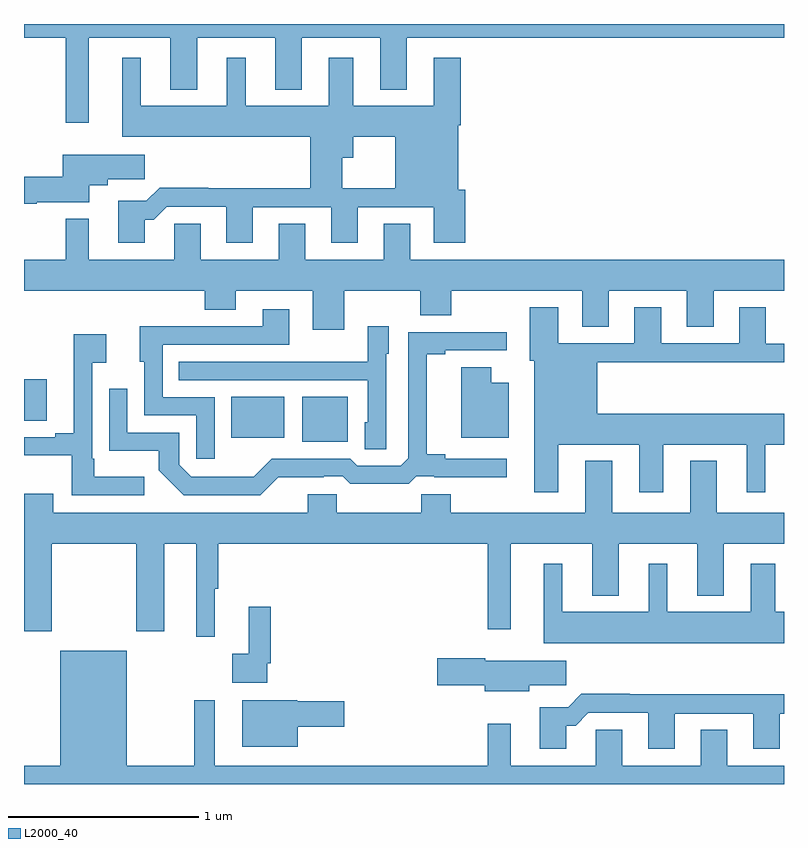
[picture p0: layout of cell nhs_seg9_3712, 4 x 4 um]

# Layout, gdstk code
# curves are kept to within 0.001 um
import gdstk
lib = gdstk.Library(unit=1e-6, precision=1e-09)
def R(c, l, rs):  # rectangles x0, y0, x1, y1
    for r in rs: c.add(gdstk.rectangle(r[:2], r[2:], *l))
def P(c, l, *ps):  # polygons
    for p in ps: c.add(gdstk.Polygon(p, *l))
L2000_40 = (2000, 40)

nhs_seg9_3712 = lib.new_cell('nhs_seg9_3712')
R(nhs_seg9_3712, L2000_40, [(324.464,1186.301,324.703,1186.537), (324.092,1186.322,324.37,1186.537), (323,1186.411,323.119,1186.63)])
P(nhs_seg9_3712, L2000_40, [(327,1188.5),(323,1188.5),(323,1188.428),(323.22,1188.428),(323.22,1187.979),(323.341,1187.979),(323.341,1188.428),(323.771,1188.428),(323.771,1188.155),(323.911,1188.155),(323.911,1188.428),(324.323,1188.428),(324.323,1188.155),(324.463,1188.155),(324.463,1188.428),(324.875,1188.428),(324.875,1188.155),(325.015,1188.155),(325.015,1188.428),(327,1188.428)],
  [(323.969,1187.639),(323.714,1187.639),(323.644,1187.569),(323.495,1187.569),(323.495,1187.349),(323.635,1187.349),(323.635,1187.471),(323.684,1187.471),(323.751,1187.538),(324.065,1187.538),(324.065,1187.349),(324.205,1187.349),(324.205,1187.535),(324.617,1187.535),(324.617,1187.349),(324.757,1187.349),(324.757,1187.535),(325.157,1187.535),(325.157,1187.349),(325.322,1187.349),(325.322,1187.628),(325.285,1187.628),(325.285,1187.966),(325.298,1187.966),(325.298,1188.322),(325.157,1188.322),(325.157,1188.07),(324.733,1188.07),(324.733,1188.322),(324.605,1188.322),(324.605,1188.07),(324.166,1188.07),(324.166,1188.322),(324.068,1188.322),(324.068,1188.07),(323.614,1188.07),(323.614,1188.322),(323.516,1188.322),(323.516,1187.906),(324.506,1187.906),(324.506,1187.636),(324.676,1187.636),(324.676,1187.795),(324.733,1187.795),(324.733,1187.906),(324.953,1187.906),(324.953,1187.636),(323.969,1187.636)],
  [(323.068,1187.561),(323.344,1187.561),(323.344,1187.651),(323.44,1187.651),(323.44,1187.683),(323.635,1187.683),(323.635,1187.812),(323.204,1187.812),(323.204,1187.696),(323,1187.696),(323,1187.554),(323.068,1187.554)],
  [(324.341,1187.45),(324.341,1187.26),(323.929,1187.26),(323.929,1187.45),(323.79,1187.45),(323.79,1187.26),(323.341,1187.26),(323.341,1187.476),(323.22,1187.476),(323.22,1187.26),(323,1187.26),(323,1187.096),(323.951,1187.096),(323.951,1186.997),(324.115,1186.997),(324.115,1187.096),(324.521,1187.096),(324.521,1186.89),(324.685,1186.89),(324.685,1187.096),(325.085,1187.096),(325.085,1186.968),(325.249,1186.968),(325.249,1187.096),(325.937,1187.096),(325.937,1186.906),(326.077,1186.906),(326.077,1187.096),(326.489,1187.096),(326.489,1186.906),(326.629,1186.906),(326.629,1187.096),(327,1187.096),(327,1187.26),(325.033,1187.26),(325.033,1187.45),(324.893,1187.45),(324.893,1187.26),(324.481,1187.26),(324.481,1187.45)],
  [(325.813,1186.286),(326.237,1186.286),(326.237,1186.035),(326.365,1186.035),(326.365,1186.286),(326.804,1186.286),(326.804,1186.035),(326.902,1186.035),(326.902,1186.286),(327,1186.286),(327,1186.45),(326.017,1186.45),(326.017,1186.72),(327,1186.72),(327,1186.818),(326.905,1186.818),(326.905,1187.008),(326.765,1187.008),(326.765,1186.821),(326.353,1186.821),(326.353,1187.008),(326.213,1187.008),(326.213,1186.821),(325.813,1186.821),(325.813,1187.008),(325.661,1187.008),(325.661,1186.728),(325.685,1186.728),(325.685,1186.035),(325.813,1186.035)],
  [(324.003,1186.536),(323.73,1186.536),(323.73,1186.812),(324.397,1186.812),(324.397,1186.999),(324.257,1186.999),(324.257,1186.908),(323.827,1186.908),(323.827,1186.91),(323.609,1186.91),(323.609,1186.722),(323.634,1186.722),(323.634,1186.44),(323.907,1186.44),(323.907,1186.212),(324.003,1186.212)],
  [(324.906,1186.764),(324.919,1186.764),(324.919,1186.909),(324.81,1186.909),(324.81,1186.723),(324.493,1186.723),(324.493,1186.722),(323.815,1186.722),(323.815,1186.626),(324.81,1186.626),(324.81,1186.404),(324.794,1186.404),(324.794,1186.261),(324.906,1186.261)],
  [(324.338,1186.115),(324.578,1186.115),(324.578,1186.119),(324.678,1186.119),(324.718,1186.08),(325.025,1186.08),(325.065,1186.119),(325.159,1186.119),(325.159,1186.115),(325.54,1186.115),(325.54,1186.212),(325.216,1186.212),(325.216,1186.235),(325.121,1186.235),(325.121,1186.762),(325.216,1186.762),(325.216,1186.782),(325.54,1186.782),(325.54,1186.878),(325.023,1186.878),(325.023,1186.215),(324.984,1186.176),(324.753,1186.176),(324.717,1186.212),(324.303,1186.212),(324.209,1186.118),(324.104,1186.118),(324.104,1186.116),(323.88,1186.116),(323.817,1186.179),(323.817,1186.35),(323.544,1186.35),(323.544,1186.579),(323.448,1186.579),(323.448,1186.253),(323.71,1186.253),(323.71,1186.151),(323.84,1186.02),(324.243,1186.02)],
  [(323.632,1186.117),(323.371,1186.117),(323.371,1186.213),(323.358,1186.213),(323.358,1186.718),(323.434,1186.718),(323.434,1186.867),(323.261,1186.867),(323.261,1186.345),(323.165,1186.345),(323.165,1186.326),(323,1186.326),(323,1186.229),(323.25,1186.229),(323.25,1186.02),(323.632,1186.02)],
  [(325.552,1186.612),(325.459,1186.612),(325.459,1186.693),(325.301,1186.693),(325.301,1186.322),(325.552,1186.322)],
  [(324.005,1185.528),(324.023,1185.528),(324.023,1185.764),(325.44,1185.764),(325.44,1185.315),(325.561,1185.315),(325.561,1185.764),(325.991,1185.764),(325.991,1185.491),(326.131,1185.491),(326.131,1185.764),(326.543,1185.764),(326.543,1185.491),(326.683,1185.491),(326.683,1185.764),(327,1185.764),(327,1185.928),(326.647,1185.928),(326.647,1186.201),(326.507,1186.201),(326.507,1185.928),(326.095,1185.928),(326.095,1186.201),(325.955,1186.201),(325.955,1185.928),(325.245,1185.928),(325.245,1186.026),(325.09,1186.026),(325.09,1185.928),(324.645,1185.928),(324.645,1186.026),(324.494,1186.026),(324.494,1185.928),(323.155,1185.928),(323.155,1186.027),(323,1186.027),(323,1185.303),(323.145,1185.303),(323.145,1185.764),(323.59,1185.764),(323.59,1185.303),(323.737,1185.303),(323.737,1185.764),(323.906,1185.764),(323.906,1185.276),(324.005,1185.276)],
  [(327,1185.406),(326.953,1185.406),(326.953,1185.658),(326.825,1185.658),(326.825,1185.406),(326.386,1185.406),(326.386,1185.658),(326.288,1185.658),(326.288,1185.406),(325.834,1185.406),(325.834,1185.658),(325.736,1185.658),(325.736,1185.242),(327,1185.242)],
  [(324.279,1185.136),(324.299,1185.136),(324.299,1185.433),(324.182,1185.433),(324.182,1185.185),(324.096,1185.185),(324.096,1185.032),(324.279,1185.032)],
  [(327,1184.596),(326.701,1184.596),(326.701,1184.786),(326.561,1184.786),(326.561,1184.596),(326.149,1184.596),(326.149,1184.786),(326.01,1184.786),(326.01,1184.596),(325.561,1184.596),(325.561,1184.818),(325.44,1184.818),(325.44,1184.596),(324.004,1184.596),(324.004,1184.941),(323.895,1184.941),(323.895,1184.596),(323.542,1184.596),(323.542,1185.202),(323.192,1185.202),(323.192,1184.596),(323,1184.596),(323,1184.5),(327,1184.5)],
  [(325.66,1185.019),(325.855,1185.019),(325.855,1185.148),(325.428,1185.148),(325.428,1185.161),(325.176,1185.161),(325.176,1185.019),(325.424,1185.019),(325.424,1184.987),(325.66,1184.987)],
  [(325.855,1184.807),(325.904,1184.807),(325.971,1184.874),(326.285,1184.874),(326.285,1184.685),(326.425,1184.685),(326.425,1184.871),(326.837,1184.871),(326.837,1184.685),(326.977,1184.685),(326.977,1184.871),(327,1184.871),(327,1184.972),(326.189,1184.972),(326.189,1184.975),(325.934,1184.975),(325.864,1184.905),(325.715,1184.905),(325.715,1184.685),(325.855,1184.685)],
  [(324.442,1184.801),(324.685,1184.801),(324.685,1184.936),(324.438,1184.936),(324.438,1184.941),(324.149,1184.941),(324.149,1184.696),(324.442,1184.696)])

lib.write_gds('nhs_seg9_3712.gds')
